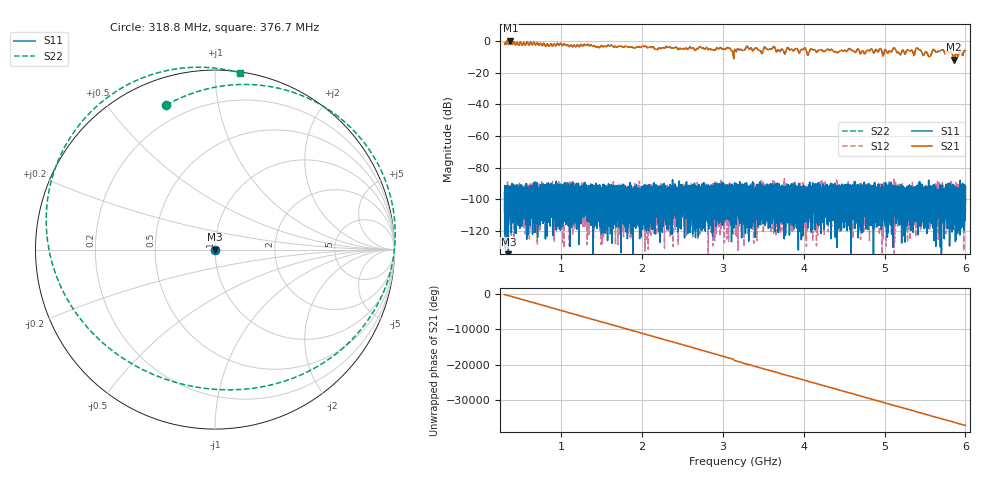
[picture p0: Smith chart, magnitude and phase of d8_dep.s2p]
!Agilent Technologies,N5230C,SG49000117,A.08.50.07
!Agilent N5230C: A.08.50.07
!Date: Sunday, March 17, 2024 06:46:36
!Correction: S11(Off)
!S21(Off)
!S12(Off)
!S22(Off)
!S2P File: Measurements: S11, S21, S12, S22:
# Hz S  RI  R 50
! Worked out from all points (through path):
!   20001 points, 300 MHz to 6 GHz, reference 50 ohm
!   highest |S21| = 0.31 dB at 372.1 MHz (marker M1); lowest = -11.7 dB at 5.856 GHz (marker M2)
!   lowest |S11| = -144.2 dB at 346.5 MHz (marker M3), VSWR 1.00, Z = 50 - j2.09e-08 ohm
!   |S11| at or under -10 dB: start of sweep to end of sweep
!   |S22| runs from -11.8 to 0.3 dB; largest |S21 - S12| = 1
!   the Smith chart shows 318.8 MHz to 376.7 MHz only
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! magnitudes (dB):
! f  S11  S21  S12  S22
! 300 MHz  -108.1  -1.3  -106.5  -1.3
! 346.5 MHz  -144.2  -2.1  -100.8  -2.1
! 372.1 MHz  -94.3  0.3  -104.5  0.3
! 1.25 GHz  -100.1  -2.4  -100.2  -2.4
! 2.2 GHz  -106.9  -4.9  -103.3  -4.9
! 3.065 GHz  -94.2  -4.4  -101.9  -4.4
! 3.15 GHz  -104.5  -5.4  -97.1  -5.4
! 3.311 GHz  -106.0  -4.0  -101.5  -4.0
! 3.469 GHz  -101.2  -6.4  -95.8  -6.4
! 3.619 GHz  -97.7  -4.2  -101.7  -4.1
! 3.758 GHz  -92.1  -7.4  -97.8  -7.4
! 4.1 GHz  -99.2  -5.3  -100.3  -5.2
! 5.05 GHz  -100.4  -6.9  -102.3  -6.9
! 5.118 GHz  -97.9  -4.4  -107.1  -4.4
! 5.18 GHz  -101.2  -7.5  -95.1  -7.5
! 5.354 GHz  -95.5  -7.9  -95.2  -7.9
! 5.412 GHz  -95.0  -4.8  -97.0  -4.8
! 5.552 GHz  -99.4  -9.9  -106.9  -9.9
! 5.608 GHz  -96.1  -5.4  -97.7  -5.5
! 5.707 GHz  -114.4  -5.7  -96.1  -5.8
! 5.856 GHz  -107.3  -11.7  -100.2  -11.8
! 6 GHz  -101.2  -6.1  -99.0  -6.1
